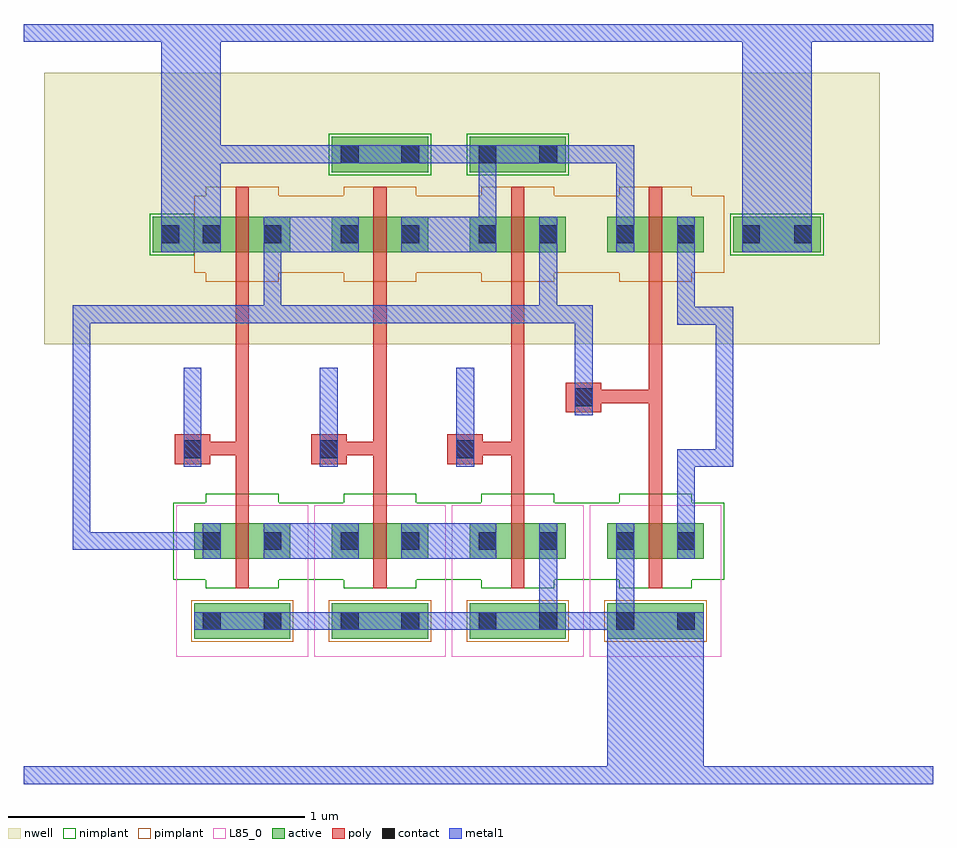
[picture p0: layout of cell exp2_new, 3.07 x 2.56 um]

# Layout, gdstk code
from math import pi, radians
import gdstk
lib = gdstk.Library(unit=1e-6, precision=5e-10)
def R(c, l, rs):  # rectangles x0, y0, x1, y1
    for r in rs: c.add(gdstk.rectangle(r[:2], r[2:], *l))
def A(c, l, x, y, w, h, nx, ny, dx, dy):  # array of equal rectangles
    R(c, l, [(x+i*dx, y+j*dy, x+i*dx+w, y+j*dy+h) for i in range(nx) for j in range(ny)])
active = (1, 0)
nwell = (2, 0)
poly = (3, 0)
nimplant = (4, 0)
pimplant = (5, 0)
contact = (6, 0)
metal1 = (7, 0)
L85_0 = (85, 0)

pmos1v_cdns_784297922500 = lib.new_cell('pmos1v_CDNS_784297922500')
R(pmos1v_cdns_784297922500, active, [(-0.14,0,0,0.12), (0,0,0.045,0.12), (0.045,0,0.185,0.12), (0.285,0,0.58,0.12)])
R(pmos1v_cdns_784297922500, nwell, [(-0.2,-0.06,0.64,0.18)])
R(pmos1v_cdns_784297922500, poly, [(0,-0.1,0.045,-0.05), (0,-0.05,0.045,0), (0,0,0.045,0.12), (0,0.12,0.045,0.17), (0,0.17,0.045,0.22)])
R(pmos1v_cdns_784297922500, nimplant, [(0.275,-0.01,0.59,0.13)])
R(pmos1v_cdns_784297922500, pimplant, [(-0.1,-0.1,0.145,0.22), (-0.21,-0.07,0.255,0.19)])
R(pmos1v_cdns_784297922500, contact, [(-0.11,0.03,-0.05,0.09), (0.095,0.03,0.155,0.09), (0.315,0.03,0.375,0.09), (0.49,0.03,0.55,0.09)])
R(pmos1v_cdns_784297922500, metal1, [(-0.11,0,-0.05,0.12), (0.095,0,0.155,0.12), (0.315,0,0.55,0.12)])

nmos1v_cdns_784297922501 = lib.new_cell('nmos1v_CDNS_784297922501')
R(nmos1v_cdns_784297922501, active, [(-0.14,-0.27,0.185,-0.15), (-0.14,0,0,0.12), (0,0,0.045,0.12), (0.045,0,0.185,0.12)])
R(nmos1v_cdns_784297922501, poly, [(0,-0.1,0.045,-0.05), (0,-0.05,0.045,0), (0,0,0.045,0.12), (0,0.12,0.045,0.17), (0,0.17,0.045,0.22)])
R(nmos1v_cdns_784297922501, nimplant, [(-0.1,-0.1,0.145,0.22), (-0.21,-0.07,0.255,0.19)])
R(nmos1v_cdns_784297922501, pimplant, [(-0.15,-0.28,0.195,-0.14)])
R(nmos1v_cdns_784297922501, contact, [(-0.11,-0.24,-0.05,-0.18), (0.095,-0.24,0.155,-0.18), (-0.11,0.03,-0.05,0.09), (0.095,0.03,0.155,0.09)])
R(nmos1v_cdns_784297922501, metal1, [(-0.14,-0.24,0.185,-0.18), (-0.11,0,-0.05,0.12), (0.095,0,0.155,0.12)])
R(nmos1v_cdns_784297922501, L85_0, [(-0.2,-0.33,0.245,0.18)])

pmos1v_cdns_784297922502 = lib.new_cell('pmos1v_CDNS_784297922502')
R(pmos1v_cdns_784297922502, active, [(-0.28,0,0,0.12), (0,0,0.045,0.12), (0.045,0,0.185,0.12)])
R(pmos1v_cdns_784297922502, nwell, [(-0.34,-0.06,0.245,0.18)])
R(pmos1v_cdns_784297922502, poly, [(0,-0.1,0.045,-0.05), (0,-0.05,0.045,0), (0,0,0.045,0.12), (0,0.12,0.045,0.17), (0,0.17,0.045,0.22)])
R(pmos1v_cdns_784297922502, nimplant, [(-0.29,-0.01,-0.14,0.13)])
R(pmos1v_cdns_784297922502, pimplant, [(-0.1,-0.1,0.145,0.22), (-0.14,-0.07,0.255,0.19)])
R(pmos1v_cdns_784297922502, contact, [(-0.25,0.03,-0.19,0.09), (-0.11,0.03,-0.05,0.09), (0.095,0.03,0.155,0.09)])
R(pmos1v_cdns_784297922502, metal1, [(-0.25,0,-0.05,0.12), (-0.25,0,-0.05,0.12), (0.095,0,0.155,0.12)])

pmos1v_cdns_784297922503 = lib.new_cell('pmos1v_CDNS_784297922503')
R(pmos1v_cdns_784297922503, active, [(-0.14,0,0,0.12), (0,0,0.045,0.12), (0.045,0,0.185,0.12), (-0.14,0.27,0.185,0.39)])
R(pmos1v_cdns_784297922503, nwell, [(-0.2,-0.06,0.245,0.45)])
R(pmos1v_cdns_784297922503, poly, [(0,-0.1,0.045,-0.05), (0,-0.05,0.045,0), (0,0,0.045,0.12), (0,0.12,0.045,0.17), (0,0.17,0.045,0.22)])
R(pmos1v_cdns_784297922503, nimplant, [(-0.15,0.26,0.195,0.4)])
R(pmos1v_cdns_784297922503, pimplant, [(-0.1,-0.1,0.145,0.22), (-0.21,-0.07,0.255,0.19)])
R(pmos1v_cdns_784297922503, contact, [(-0.11,0.03,-0.05,0.09), (0.095,0.03,0.155,0.09), (-0.11,0.3,-0.05,0.36), (0.095,0.3,0.155,0.36)])
R(pmos1v_cdns_784297922503, metal1, [(-0.11,0,-0.05,0.12), (0.095,0,0.155,0.12), (-0.14,0.3,0.185,0.36)])

m1_po_cdns_784297922500 = lib.new_cell('M1_PO_CDNS_784297922500')
R(m1_po_cdns_784297922500, poly, [(-0.06,-0.055,0.06,0.045)])
R(m1_po_cdns_784297922500, contact, [(-0.03,-0.035,0.03,0.025)])
R(m1_po_cdns_784297922500, metal1, [(-0.03,-0.065,0.03,0.055)])

exp2_new = lib.new_cell('exp2_new')
R(exp2_new, nwell, [(0.07,1.485,2.89,2.4)])
A(exp2_new, metal1, 0.54, 1.345, 0.06, 0.06, 3, 1, 0.46, 0)
R(exp2_new, metal1, [(0,0,3.07,0.06), (2.335,1.3,2.395,1.36), (0,2.505,3.07,2.565)])
exp2_new.add(gdstk.FlexPath([(0.7375,1.1325),(0.57,1.1325)], 0.045, ends=(0.0225, 0), simple_path=True, layer=3, datatype=0))  # poly
exp2_new.add(gdstk.FlexPath([(2.1325,0.98),(2.1325,1.695)], 0.045, ends="flush", simple_path=True, layer=3, datatype=0))  # poly
exp2_new.add(gdstk.FlexPath([(1.6675,1.1325),(1.6675,0.98)], 0.045, ends=(0.0225, 0), simple_path=True, layer=3, datatype=0))  # poly
exp2_new.add(gdstk.FlexPath([(1.6675,1.1325),(1.49,1.1325)], 0.045, ends=(0.0225, 0), simple_path=True, layer=3, datatype=0))  # poly
exp2_new.add(gdstk.FlexPath([(1.2025,1.1325),(1.2025,0.98)], 0.045, ends=(0.0225, 0), simple_path=True, layer=3, datatype=0))  # poly
exp2_new.add(gdstk.FlexPath([(1.2025,1.1325),(1.03,1.1325)], 0.045, ends=(0.0225, 0), simple_path=True, layer=3, datatype=0))  # poly
exp2_new.add(gdstk.FlexPath([(0.7375,1.1325),(0.7375,0.98)], 0.045, ends=(0.0225, 0), simple_path=True, layer=3, datatype=0))  # poly
exp2_new.add(gdstk.FlexPath([(2.1325,1.3075),(1.89,1.3075)], 0.045, ends=(0.0225, 0), simple_path=True, layer=3, datatype=0))  # poly
exp2_new.add(gdstk.FlexPath([(1.6675,1.695),(1.6675,1.1325)], 0.045, ends=(0, 0.0225), simple_path=True, layer=3, datatype=0))  # poly
exp2_new.add(gdstk.FlexPath([(1.2025,1.695),(1.2025,1.1325)], 0.045, ends=(0, 0.0225), simple_path=True, layer=3, datatype=0))  # poly
exp2_new.add(gdstk.FlexPath([(0.7375,1.695),(0.7375,1.1325)], 0.045, ends=(0, 0.0225), simple_path=True, layer=3, datatype=0))  # poly
exp2_new.add(gdstk.FlexPath([(0.57,1.135),(0.57,1.405)], 0.06, ends="flush", simple_path=True, layer=7, datatype=0))  # metal1
exp2_new.add(gdstk.FlexPath([(1.89,1.31),(1.89,1.585)], 0.06, ends=(0, 0.03), simple_path=True, layer=7, datatype=0))  # metal1
exp2_new.add(gdstk.FlexPath([(0.84,1.585),(0.84,1.795)], 0.06, ends=(0.03, 0), simple_path=True, layer=7, datatype=0))  # metal1
exp2_new.add(gdstk.FlexPath([(2.365,1.58),(2.235,1.58)], 0.06, ends="extended", simple_path=True, layer=7, datatype=0))  # metal1
exp2_new.add(gdstk.FlexPath([(2.365,1.1),(2.365,1.58)], 0.06, ends="extended", simple_path=True, layer=7, datatype=0))  # metal1
exp2_new.add(gdstk.FlexPath([(2.235,1.1),(2.365,1.1)], 0.06, ends="extended", simple_path=True, layer=7, datatype=0))  # metal1
exp2_new.add(gdstk.FlexPath([(2.235,0.88),(2.235,1.1)], 0.06, ends=(0, 0.03), simple_path=True, layer=7, datatype=0))  # metal1
exp2_new.add(gdstk.FlexPath([(1.77,1.795),(1.77,1.585)], 0.06, ends=(0, 0.03), simple_path=True, layer=7, datatype=0))  # metal1
exp2_new.add(gdstk.FlexPath([(1.77,1.585),(0.84,1.585)], 0.06, ends="extended", simple_path=True, layer=7, datatype=0))  # metal1
exp2_new.add(gdstk.FlexPath([(0.84,1.585),(0.195,1.585)], 0.06, ends="extended", simple_path=True, layer=7, datatype=0))  # metal1
exp2_new.add(gdstk.FlexPath([(0.195,1.585),(0.195,0.82)], 0.06, ends="extended", simple_path=True, layer=7, datatype=0))  # metal1
exp2_new.add(gdstk.FlexPath([(0.195,0.82),(0.605,0.82)], 0.06, ends=(0.03, 0), simple_path=True, layer=7, datatype=0))  # metal1
exp2_new.add(gdstk.FlexPath([(2.1325,0.52),(2.1325,0.06)], 0.325, ends="flush", simple_path=True, layer=7, datatype=0))  # metal1
exp2_new.add(gdstk.FlexPath([(2.5425,1.915),(2.5425,2.505)], 0.235, ends="flush", simple_path=True, layer=7, datatype=0))  # metal1
exp2_new.add(gdstk.FlexPath([(2.03,2.125),(2.03,1.915)], 0.06, ends=(0.03, 0), simple_path=True, layer=7, datatype=0))  # metal1
exp2_new.add(gdstk.FlexPath([(1.83,2.125),(2.03,2.125)], 0.06, ends=(0, 0.03), simple_path=True, layer=7, datatype=0))  # metal1
exp2_new.add(gdstk.FlexPath([(1.565,1.915),(1.565,2.095)], 0.06, ends="flush", simple_path=True, layer=7, datatype=0))  # metal1
exp2_new.add(gdstk.FlexPath([(1.04,2.125),(0.565,2.125)], 0.06, ends=(0, 0.1), simple_path=True, layer=7, datatype=0))  # metal1
exp2_new.add(gdstk.FlexPath([(2.235,1.58),(2.235,1.795)], 0.06, ends=(0.03, 0), simple_path=True, layer=7, datatype=0))  # metal1
exp2_new.add(gdstk.FlexPath([(1.77,0.76),(1.77,0.58)], 0.06, ends="flush", simple_path=True, layer=7, datatype=0))  # metal1
exp2_new.add(gdstk.FlexPath([(1.365,0.55),(1.505,0.55)], 0.06, ends="flush", simple_path=True, layer=7, datatype=0))  # metal1
exp2_new.add(gdstk.FlexPath([(0.9,0.55),(1.04,0.55)], 0.06, ends="flush", simple_path=True, layer=7, datatype=0))  # metal1
exp2_new.add(gdstk.FlexPath([(1.83,0.55),(1.97,0.55)], 0.06, ends="flush", simple_path=True, layer=7, datatype=0))  # metal1
exp2_new.add(gdstk.FlexPath([(2.03,0.76),(2.03,0.58)], 0.06, ends="flush", simple_path=True, layer=7, datatype=0))  # metal1
exp2_new.add(gdstk.FlexPath([(1.505,2.125),(1.365,2.125)], 0.06, ends="flush", simple_path=True, layer=7, datatype=0))  # metal1
exp2_new.add(gdstk.FlexPath([(0.565,1.915),(0.565,2.125)], 0.2, ends=(0, 0.03), simple_path=True, layer=7, datatype=0))  # metal1
exp2_new.add(gdstk.FlexPath([(0.565,2.125),(0.565,2.505)], 0.2, ends=(0.03, 0), simple_path=True, layer=7, datatype=0))  # metal1
exp2_new.add(gdstk.FlexPath([(1.89,1.585),(1.77,1.585)], 0.06, ends="extended", simple_path=True, layer=7, datatype=0))  # metal1
exp2_new.add(gdstk.FlexPath([(1.49,1.135),(1.49,1.405)], 0.06, ends="flush", simple_path=True, layer=7, datatype=0))  # metal1
exp2_new.add(gdstk.FlexPath([(1.03,1.135),(1.03,1.405)], 0.06, ends="flush", simple_path=True, layer=7, datatype=0))  # metal1
exp2_new.add(gdstk.FlexPath([(1.335,1.855),(1.535,1.855)], 0.12, ends="flush", simple_path=True, layer=7, datatype=0))  # metal1
exp2_new.add(gdstk.FlexPath([(0.87,1.855),(1.07,1.855)], 0.12, ends="flush", simple_path=True, layer=7, datatype=0))  # metal1
exp2_new.add(gdstk.FlexPath([(1.335,0.82),(1.535,0.82)], 0.12, ends="flush", simple_path=True, layer=7, datatype=0))  # metal1
exp2_new.add(gdstk.FlexPath([(0.87,0.82),(1.07,0.82)], 0.12, ends="flush", simple_path=True, layer=7, datatype=0))  # metal1
exp2_new.add(gdstk.Reference(pmos1v_cdns_784297922500, (2.11,1.795)))
exp2_new.add(gdstk.Reference(nmos1v_cdns_784297922501, (2.11,0.76)))
exp2_new.add(gdstk.Reference(nmos1v_cdns_784297922501, (1.69,0.76), rotation=pi, x_reflection=True))
exp2_new.add(gdstk.Reference(nmos1v_cdns_784297922501, (1.225,0.76), rotation=pi, x_reflection=True))
exp2_new.add(gdstk.Reference(nmos1v_cdns_784297922501, (0.76,0.76), rotation=pi, x_reflection=True))
exp2_new.add(gdstk.Reference(pmos1v_cdns_784297922502, (0.715,1.795)))
exp2_new.add(gdstk.Reference(pmos1v_cdns_784297922503, (1.645,1.795)))
exp2_new.add(gdstk.Reference(pmos1v_cdns_784297922503, (1.225,1.795), rotation=pi, x_reflection=True))
exp2_new.add(gdstk.Reference(m1_po_cdns_784297922500, (0.57,1.135)))
exp2_new.add(gdstk.Reference(m1_po_cdns_784297922500, (1.03,1.135)))
exp2_new.add(gdstk.Reference(m1_po_cdns_784297922500, (1.49,1.135)))
exp2_new.add(gdstk.Reference(m1_po_cdns_784297922500, (1.89,1.31)))

lib.write_gds('exp2_new.gds')
